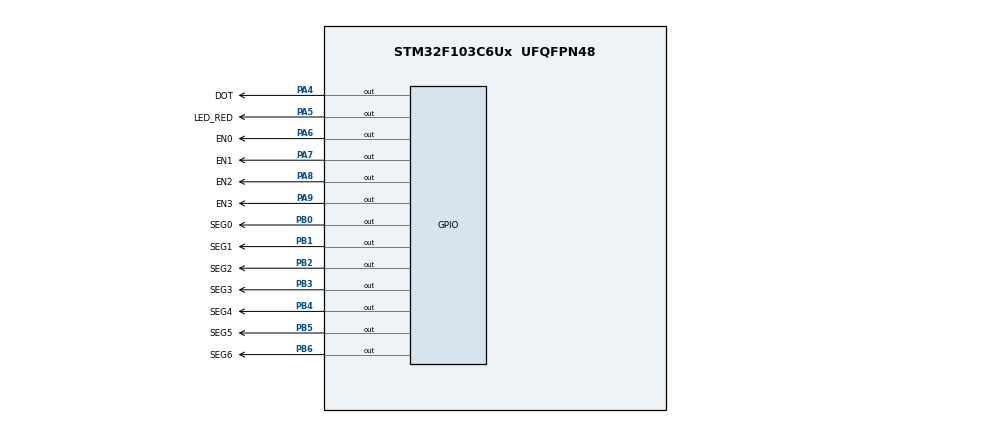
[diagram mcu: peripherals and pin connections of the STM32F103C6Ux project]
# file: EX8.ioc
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Mcu.Family=STM32F1
Mcu.Name=STM32F103C6Ux
Mcu.Package=UFQFPN48
NVIC.PriorityGroup=NVIC_PRIORITYGROUP_4
NVIC.TIM2_IRQn=true\:0\:0\:false\:false\:true\:true\:true
PA4.GPIO_Label=DOT
PA4.Signal=GPIO_Output
PA5.GPIO_Label=LED_RED
PA5.Signal=GPIO_Output
PA6.GPIO_Label=EN0
PA6.Signal=GPIO_Output
PA7.GPIO_Label=EN1
PA7.Signal=GPIO_Output
PA8.GPIO_Label=EN2
PA8.Signal=GPIO_Output
PA9.GPIO_Label=EN3
PA9.Signal=GPIO_Output
PB0.GPIO_Label=SEG0
PB0.Signal=GPIO_Output
PB1.GPIO_Label=SEG1
PB1.Signal=GPIO_Output
PB2.GPIO_Label=SEG2
PB2.Signal=GPIO_Output
PB3.GPIO_Label=SEG3
PB3.Signal=GPIO_Output
PB4.GPIO_Label=SEG4
PB4.Signal=GPIO_Output
PB5.GPIO_Label=SEG5
PB5.Signal=GPIO_Output
PB6.GPIO_Label=SEG6
PB6.Signal=GPIO_Output
ProjectManager.HeapSize=0x200
ProjectManager.StackSize=0x400
ProjectManager.TargetToolchain=STM32CubeIDE
RCC.APB1Freq_Value=8000000
RCC.APB2Freq_Value=8000000
TIM2.Period=9
TIM2.Prescaler=7999
VP_SYS_VS_ND.Mode=No_Debug
VP_TIM2_VS_ClockSourceINT.Mode=Internal
board=custom

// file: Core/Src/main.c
/* USER CODE BEGIN Header */
/**
  ******************************************************************************
  * @file           : main.c
  * @brief          : Main program body
  ******************************************************************************
  * @attention
  *
  * <h2><center>&copy; Copyright (c) 2026 STMicroelectronics.
  * All rights reserved.</center></h2>
  *
  * This software component is licensed by ST under BSD 3-Clause license,
  * the "License"; You may not use this file except in compliance with the
  * License. You may obtain a copy of the License at:
  *                        opensource.org/licenses/BSD-3-Clause
  *
  ******************************************************************************
  */
/* USER CODE END Header */
#include "main.h"

TIM_HandleTypeDef htim2;

void SystemClock_Config(void);
static void MX_TIM2_Init(void);
static void MX_GPIO_Init(void);
/* USER CODE BEGIN PFP */
void updateClockBuffer(void);
void update7SEG(int index);
/* USER CODE END PFP */

/* USER CODE BEGIN 0 */
const int MAX_LED = 4;
int index_led = 0;
int led_buffer[4] = {1, 5, 0, 8};

int dot_state = 0;

int hour = 15, minute = 8, second = 50;

int timer0_counter = 0;
int timer0_flag = 0;
int timer1_counter = 0;
int timer1_flag = 0;
int TIMER_CYCLE = 10;

void setTimer0(int duration) {
    timer0_counter = duration / TIMER_CYCLE;
    timer0_flag = 0;
}

void setTimer1(int duration) {
    timer1_counter = duration / TIMER_CYCLE;
    timer1_flag = 0;
}

void timer_run() {
    if (timer0_counter > 0) {
        timer0_counter--;
        if (timer0_counter == 0) timer0_flag = 1;
    }
    if (timer1_counter > 0) {
        timer1_counter--;
        if (timer1_counter == 0) timer1_flag = 1;
    }
}
/* USER CODE END 0 */

int main(void)
{

  /* MCU Configuration--------------------------------------------------------*/

  /* Reset of all peripherals, Initializes the Flash interface and the Systick. */
  HAL_Init();

  /* Configure the system clock */
  SystemClock_Config();

  /* Initialize all configured peripherals */
  MX_TIM2_Init();
  MX_GPIO_Init();
  /* USER CODE BEGIN 2 */
  HAL_TIM_Base_Start_IT(&htim2);
      updateClockBuffer();
      HAL_GPIO_WritePin(GPIOA, DOT_Pin, GPIO_PIN_RESET);

      update7SEG(index_led);
      index_led++;

      setTimer0(1000);
      setTimer1(250);
  /* USER CODE END 2 */

  /* Infinite loop */
  /* USER CODE BEGIN WHILE */
      while (1)
      {
          if(timer0_flag == 1){
              setTimer0(1000);

              second++;
              if (second >= 60){
                  second = 0;
                  minute++;
                  if (minute >= 60) {
                      minute = 0;
                      hour++;
                  }
              }
              if (hour >= 24) {
                  hour = 0;
              }
              updateClockBuffer();

              if (dot_state == 0) {
                   dot_state = 1;
                   HAL_GPIO_WritePin(GPIOA, DOT_Pin, GPIO_PIN_SET);
              }
              else {
                   dot_state = 0;
                   HAL_GPIO_WritePin(GPIOA, DOT_Pin, GPIO_PIN_RESET);
              }
          }

          if(timer1_flag == 1){
              setTimer1(250);
              update7SEG(index_led++);
              if (index_led >= MAX_LED) {
                  index_led = 0;
              }
          }
    /* USER CODE END WHILE */

  }
}

void SystemClock_Config(void)
{
  RCC_OscInitTypeDef RCC_OscInitStruct = {0};
  RCC_ClkInitTypeDef RCC_ClkInitStruct = {0};

  /** Initializes the RCC Oscillators according to the specified parameters
  * in the RCC_OscInitTypeDef structure.
  */
  RCC_OscInitStruct.OscillatorType = RCC_OSCILLATORTYPE_HSI;
  RCC_OscInitStruct.HSIState = RCC_HSI_ON;
  RCC_OscInitStruct.HSICalibrationValue = RCC_HSICALIBRATION_DEFAULT;
  RCC_OscInitStruct.PLL.PLLState = RCC_PLL_NONE;
  if (HAL_RCC_OscConfig(&RCC_OscInitStruct) != HAL_OK)
  {
    Error_Handler();
  }
  /** Initializes the CPU, AHB and APB buses clocks
  */
  RCC_ClkInitStruct.ClockType = RCC_CLOCKTYPE_HCLK|RCC_CLOCKTYPE_SYSCLK
                              |RCC_CLOCKTYPE_PCLK1|RCC_CLOCKTYPE_PCLK2;
  RCC_ClkInitStruct.SYSCLKSource = RCC_SYSCLKSOURCE_HSI;
  RCC_ClkInitStruct.AHBCLKDivider = RCC_SYSCLK_DIV1;
  RCC_ClkInitStruct.APB1CLKDivider = RCC_HCLK_DIV1;
  RCC_ClkInitStruct.APB2CLKDivider = RCC_HCLK_DIV1;

  if (HAL_RCC_ClockConfig(&RCC_ClkInitStruct, FLASH_LATENCY_0) != HAL_OK)
  {
    Error_Handler();
  }
}

static void MX_TIM2_Init(void)
{

  TIM_ClockConfigTypeDef sClockSourceConfig = {0};
  TIM_MasterConfigTypeDef sMasterConfig = {0};

  htim2.Instance = TIM2;
  htim2.Init.Prescaler = 7999;
  htim2.Init.CounterMode = TIM_COUNTERMODE_UP;
  htim2.Init.Period = 9;
  htim2.Init.ClockDivision = TIM_CLOCKDIVISION_DIV1;
  htim2.Init.AutoReloadPreload = TIM_AUTORELOAD_PRELOAD_DISABLE;
  if (HAL_TIM_Base_Init(&htim2) != HAL_OK)
  {
    Error_Handler();
  }
  sClockSourceConfig.ClockSource = TIM_CLOCKSOURCE_INTERNAL;
  if (HAL_TIM_ConfigClockSource(&htim2, &sClockSourceConfig) != HAL_OK)
  {
    Error_Handler();
  }
  sMasterConfig.MasterOutputTrigger = TIM_TRGO_RESET;
  sMasterConfig.MasterSlaveMode = TIM_MASTERSLAVEMODE_DISABLE;
  if (HAL_TIMEx_MasterConfigSynchronization(&htim2, &sMasterConfig) != HAL_OK)
  {
    Error_Handler();
  }

}

static void MX_GPIO_Init(void)
{
  GPIO_InitTypeDef GPIO_InitStruct = {0};

  /* GPIO Ports Clock Enable */
  __HAL_RCC_GPIOA_CLK_ENABLE();
  __HAL_RCC_GPIOB_CLK_ENABLE();

  /*Configure GPIO pin Output Level */
  HAL_GPIO_WritePin(GPIOA, DOT_Pin|LED_RED_Pin|EN0_Pin|EN1_Pin
                          |EN2_Pin|EN3_Pin, GPIO_PIN_RESET);

  /*Configure GPIO pin Output Level */
  HAL_GPIO_WritePin(GPIOB, SEG0_Pin|SEG1_Pin|SEG2_Pin|SEG3_Pin
                          |SEG4_Pin|SEG5_Pin|SEG6_Pin, GPIO_PIN_RESET);

  /*Configure GPIO pins : DOT_Pin LED_RED_Pin EN0_Pin EN1_Pin
                           EN2_Pin EN3_Pin */
  GPIO_InitStruct.Pin = DOT_Pin|LED_RED_Pin|EN0_Pin|EN1_Pin
                          |EN2_Pin|EN3_Pin;
  GPIO_InitStruct.Mode = GPIO_MODE_OUTPUT_PP;
  GPIO_InitStruct.Pull = GPIO_NOPULL;
  GPIO_InitStruct.Speed = GPIO_SPEED_FREQ_LOW;
  HAL_GPIO_Init(GPIOA, &GPIO_InitStruct);

  /*Configure GPIO pins : SEG0_Pin SEG1_Pin SEG2_Pin SEG3_Pin
                           SEG4_Pin SEG5_Pin SEG6_Pin */
  GPIO_InitStruct.Pin = SEG0_Pin|SEG1_Pin|SEG2_Pin|SEG3_Pin
                          |SEG4_Pin|SEG5_Pin|SEG6_Pin;
  GPIO_InitStruct.Mode = GPIO_MODE_OUTPUT_PP;
  GPIO_InitStruct.Pull = GPIO_NOPULL;
  GPIO_InitStruct.Speed = GPIO_SPEED_FREQ_LOW;
  HAL_GPIO_Init(GPIOB, &GPIO_InitStruct);

}

/* USER CODE BEGIN 4 */
void display7SEG(int num){
	uint8_t seg7[10]={0xC0,0xF9,0xA4,0xB0,0x99,0x92,0x82,0xF8,0x80,0x90};
	if(num<0||num>9) return;
	uint8_t temp = seg7[num];
	HAL_GPIO_WritePin(GPIOB, SEG0_Pin, (temp >> 0) & 1);
	HAL_GPIO_WritePin(GPIOB, SEG1_Pin, (temp >> 1) & 1);
	HAL_GPIO_WritePin(GPIOB, SEG2_Pin, (temp >> 2) & 1);
	HAL_GPIO_WritePin(GPIOB, SEG3_Pin, (temp >> 3) & 1);
	HAL_GPIO_WritePin(GPIOB, SEG4_Pin, (temp >> 4) & 1);
	HAL_GPIO_WritePin(GPIOB, SEG5_Pin, (temp >> 5) & 1);
	HAL_GPIO_WritePin(GPIOB, SEG6_Pin, (temp >> 6) & 1);
}
void updateClockBuffer() {
    led_buffer[0] = hour / 10;
    led_buffer[1] = hour % 10;
    led_buffer[2] = minute / 10;
    led_buffer[3] = minute % 10;
}
void update7SEG (int index) {

    HAL_GPIO_WritePin(GPIOA, EN0_Pin | EN1_Pin | EN2_Pin | EN3_Pin, GPIO_PIN_SET);

    switch (index) {
        case 0:
            display7SEG(led_buffer[0]);
            HAL_GPIO_WritePin(GPIOA, EN0_Pin, GPIO_PIN_RESET);
            break;
        case 1:
            display7SEG(led_buffer[1]);
            HAL_GPIO_WritePin(GPIOA, EN1_Pin, GPIO_PIN_RESET);
            break;
        case 2:
            display7SEG(led_buffer[2]);
            HAL_GPIO_WritePin(GPIOA, EN2_Pin, GPIO_PIN_RESET);
            break;
        case 3:
            display7SEG(led_buffer[3]);
            HAL_GPIO_WritePin(GPIOA, EN3_Pin, GPIO_PIN_RESET);
            break;
        default:
            break;
    }
}

void HAL_TIM_PeriodElapsedCallback(TIM_HandleTypeDef *htim)
{
    if (htim->Instance == TIM2) {
        timer_run();
    }
}
/* USER CODE END 4 */

void Error_Handler(void)
{
  __disable_irq();
  while (1)
  {
  }
}

/************************ (C) COPYRIGHT STMicroelectronics *****END OF FILE****/
